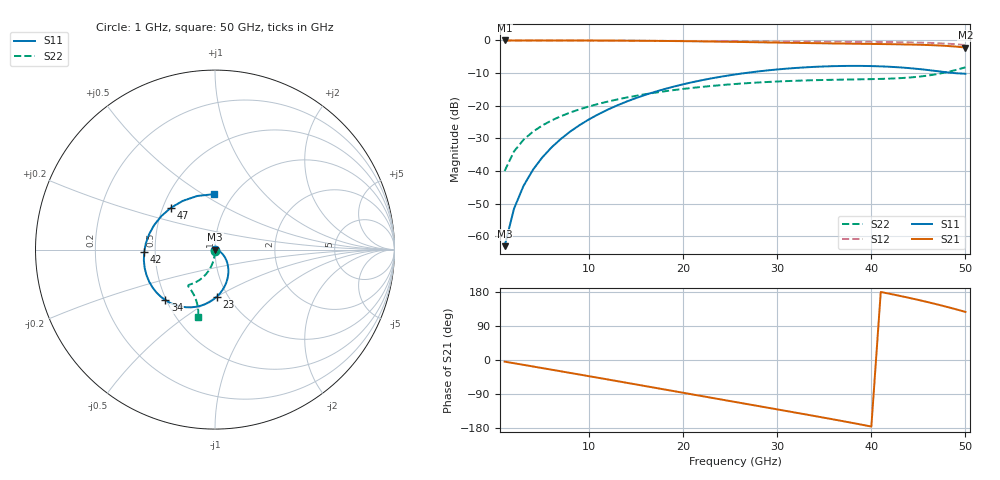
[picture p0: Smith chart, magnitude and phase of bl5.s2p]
! Impedora 0.10.0 via model, case bl5 (fullwave/cases.json), 2026-11-19
! Blind via as bl2 with the stripline deeper: 0.25 mm below the top plane of the 0.4 mm pair, 0.15 mm above the plane below: with its pads and traces, ports at the far end of each trace, after the 3D port calibration.
! Ports: 1 = upper end, 2 = lower end, 50 ohm.
! Compared with the edge 3D mesh.
# Hz S RI R 50
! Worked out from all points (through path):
!   50 points, 1 GHz to 50 GHz, reference 50 ohm
!   highest |S21| = 0.00 dB at 1 GHz (marker M1); lowest = -2.2 dB at 50 GHz (marker M2)
!   group delay of S21, straight-line fit = 12.6 ps
!   lowest |S11| = -63.0 dB at 1 GHz (marker M3), VSWR 1.00, Z = 50.1 + j0.0236 ohm
!   |S11| at or under -10 dB: start of sweep to 26.55 GHz; 48.86 GHz to end of sweep
!   |S22| runs from -40.0 to -8.2 dB; largest |S21 - S12| = 1.5
!   S11 on the Smith chart (normalised r, x): 1 GHz: 1.00, +0.00; 23 GHz: 0.89, -0.50; 34 GHz: 0.49, -0.33; 42 GHz: 0.43, -0.02; 47 GHz: 0.55, +0.29; 50 GHz: 0.82, +0.56
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1e9  0.000667 0.000236  0.9972 -0.0742  0.9996 -0.0281  -0.000232 -0.01
2e9  0.00265 0.000212  0.9889 -0.1481  0.9982 -0.0562  -0.000929 -0.02
3e9  0.00588 -0.000326  0.9752 -0.2211  0.996 -0.0842  -0.00209 -0.0299
4e9  0.0103 -0.00162  0.9559 -0.2931  0.9928 -0.1121  -0.00371 -0.0398
5e9  0.0157 -0.0039  0.9313 -0.3634  0.9888 -0.1399  -0.00578 -0.0495
7e9  0.0288 -0.0122  0.8664 -0.498  0.9782 -0.195  -0.0112 -0.0685
8e9  0.036 -0.0185  0.8263 -0.5613  0.9716 -0.2222  -0.0146 -0.0777
1e10  0.0507 -0.0361  0.7317 -0.6781  0.9559 -0.276  -0.0225 -0.0953
1.2e10  0.0636 -0.0604  0.6198 -0.7792  0.9369 -0.3287  -0.0318 -0.1118
1.4e10  0.0723 -0.0912  0.4929 -0.8614  0.9148 -0.3802  -0.0422 -0.127
1.8e10  0.0684 -0.1666  0.2085 -0.9602  0.8613 -0.479  -0.0658 -0.1528
2e10  0.0526 -0.2068  0.059 -0.9738  0.8301 -0.526  -0.0783 -0.1633
2.3e10  0.00975 -0.2626  -0.1623 -0.9491  0.7779 -0.5936  -0.0972 -0.176
2.6e10  -0.0542 -0.3038  -0.3682 -0.8739  0.7191 -0.6574  -0.1149 -0.1852
3e10  -0.1622 -0.3211  -0.6007 -0.7071  0.6296 -0.7362  -0.1347 -0.1928
3.4e10  -0.2759 -0.282  -0.7704 -0.4818  0.5254 -0.8072  -0.147 -0.1977
3.8e10  -0.3665 -0.1794  -0.8662 -0.2139  0.4022 -0.8676  -0.1486 -0.2045
4.2e10  -0.3948 -0.0151  -0.8729 0.0838  0.2525 -0.911  -0.1363 -0.222
4.5e10  -0.3396 0.1358  -0.8005 0.3153  0.1159 -0.9217  -0.1176 -0.2522
4.7e10  -0.2468 0.2323  -0.7025 0.4612  0.0113 -0.9089  -0.1031 -0.2875
4.9e10  -0.0991 0.2987  -0.5575 0.581  -0.1018 -0.8689  -0.0932 -0.3411
5e10  -0.0059 0.309  -0.468 0.6223  -0.1585 -0.8348  -0.0933 -0.376
